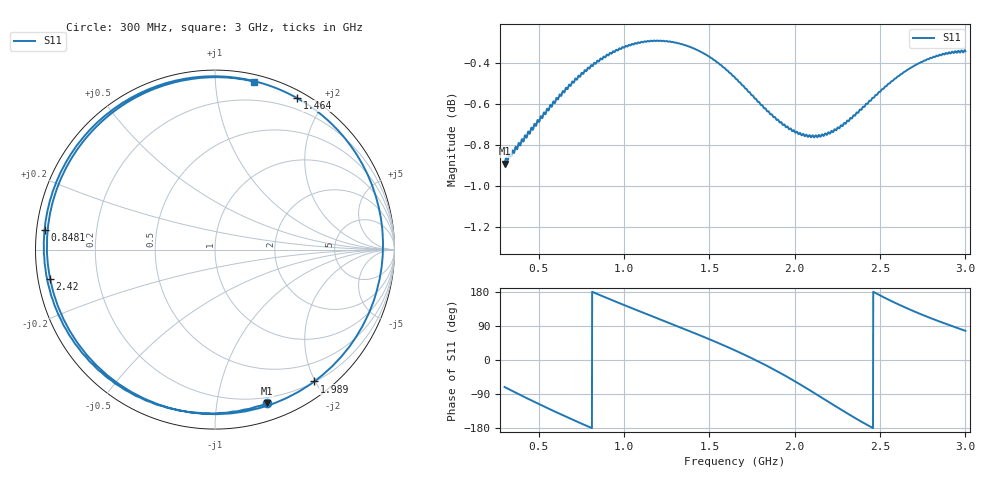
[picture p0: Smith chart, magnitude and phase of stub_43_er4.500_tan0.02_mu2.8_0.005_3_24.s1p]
! Chirptenna · simulación 3D de un stub abierto
# HZ S RI R 50
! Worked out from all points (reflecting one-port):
!   2001 points, 300 MHz to 3 GHz, reference 50 ohm
!   lowest |S11| = -0.9 dB at 300 MHz (marker M1), VSWR 19.52, Z = 7.51 - j69.2 ohm
!   phase of S11 starts at -71 deg and turns -572 deg over the sweep
!   S11 on the Smith chart (normalised r, x): 300 MHz: 0.15, -1.38; 848.1 MHz: 0.02, +0.06; 1.464 GHz: 0.08, +1.68; 1.989 GHz: 0.21, -1.99; 2.42 GHz: 0.03, -0.09; 3 GHz: 0.05, +1.26
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3e8  0.2902 -0.8546
3.8775e8  -0.021 -0.912
4.6335e8  -0.2857 -0.8744
5.403e8  -0.5281 -0.763
6.375e8  -0.7694 -0.5385
7.428e8  -0.9205 -0.2249
8.481e8  -0.9493 0.1119
9.75e8  -0.8302 0.4873
1.1505e9  -0.4531 0.8536
1.3125e9  0.0152 0.9653
1.4637e9  0.457 0.8444
1.5555e9  0.6847 0.6651
1.65e9  0.8555 0.4059
1.74045e9  0.9329 0.1036
1.8228e9  0.9103 -0.1948
1.9065e9  0.7828 -0.4916
1.9875e9  0.5571 -0.7311
1.98885e9  0.5527 -0.7345
2.07525e9  0.2173 -0.8901
2.15355e9  -0.1272 -0.9076
2.2359e9  -0.4747 -0.7881
2.325e9  -0.7625 -0.525
2.4195e9  -0.9192 -0.1614
2.53155e9  -0.9023 0.2718
2.6625e9  -0.6786 0.6666
2.74215e9  -0.4818 0.8249
2.82315e9  -0.2621 0.9215
3e9  0.2161 0.9365
